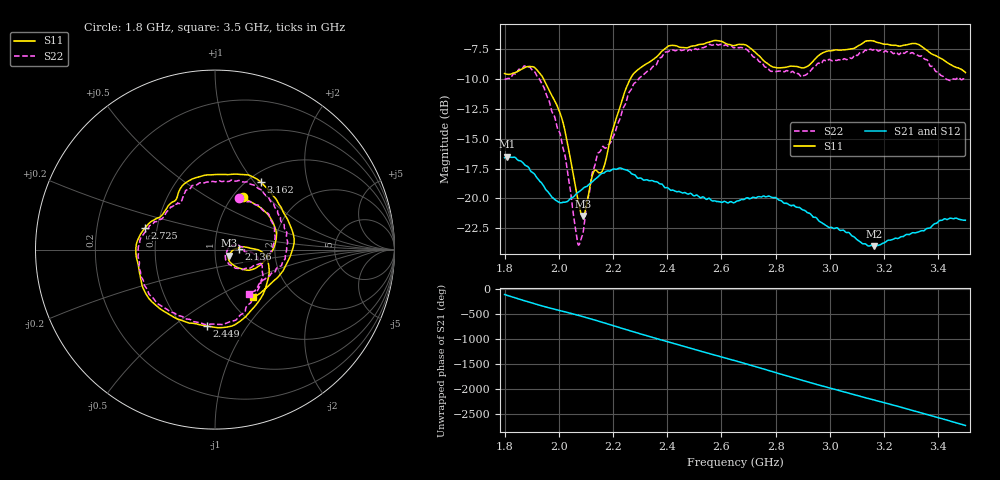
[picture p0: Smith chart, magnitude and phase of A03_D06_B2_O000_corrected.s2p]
! Created with skrf 1.9.0 (http://scikit-rf.org).
# Hz S RI R 50.0
!freq ReS11 ImS11 ReS21 ImS21 ReS12 ImS12 ReS22 ImS22
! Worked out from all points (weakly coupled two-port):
!   1601 points, 1.8 GHz to 3.5 GHz, reference 50 ohm
!   highest |S21| = -16.51 dB at 1.811 GHz (marker M1); lowest = -24.0 dB at 3.164 GHz (marker M2)
!   lowest |S11| = -21.5 dB at 2.088 GHz (marker M3), VSWR 1.18, Z = 58.2 - j4.01 ohm
!   |S11| at or under -10 dB: 1.944 GHz to 2.264 GHz (320 MHz wide, 15.2 % of centre)
!   |S22| runs from -23.9 to -7.1 dB; largest |S21 - S12| = 0.0025
!   S11 on the Smith chart (normalised r, x): 1.8 GHz: 1.12, +0.74; 2.136 GHz: 1.30, +0.01; 2.449 GHz: 0.64, -0.67; 2.725 GHz: 0.43, +0.13; 3.162 GHz: 1.14, +1.08; 3.5 GHz: 1.28, -0.76
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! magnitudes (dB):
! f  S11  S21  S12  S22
! 1.8 GHz  -9.5  -16.6  -16.6  -10.0
! 1.811 GHz  -9.6  -16.5  -16.5  -10.0
! 1.881 GHz  -9.0  -17.3  -17.3  -9.1
! 1.941 GHz  -9.9  -18.9  -18.9  -10.6
! 2.013 GHz  -13.4  -20.3  -20.3  -15.5
! 2.067 GHz  -19.7  -19.6  -19.6  -23.4
! 2.084 GHz  -21.3  -19.3  -19.2  -23.3
! 2.088 GHz  -21.5  -19.2  -19.2  -23.0
! 2.136 GHz  -17.6  -18.4  -18.4  -17.0
! 2.166 GHz  -17.4  -17.9  -17.8  -15.7
! 2.265 GHz  -9.9  -17.9  -17.8  -10.9
! 2.367 GHz  -8.0  -18.7  -18.6  -8.4
! 2.449 GHz  -7.4  -19.5  -19.5  -7.6
! 2.65 GHz  -7.2  -20.3  -20.3  -7.4
! 2.725 GHz  -7.8  -20.0  -19.9  -8.2
! 2.8 GHz  -9.0  -19.9  -19.9  -9.4
! 2.934 GHz  -8.6  -21.4  -21.4  -9.2
! 3.162 GHz  -6.8  -24.0  -23.9  -7.6
! 3.164 GHz  -6.8  -24.0  -24.0  -7.5
! 3.217 GHz  -7.1  -23.5  -23.5  -7.8
! 3.324 GHz  -7.1  -22.8  -22.8  -8.0
! 3.5 GHz  -9.5  -21.8  -21.8  -10.1
